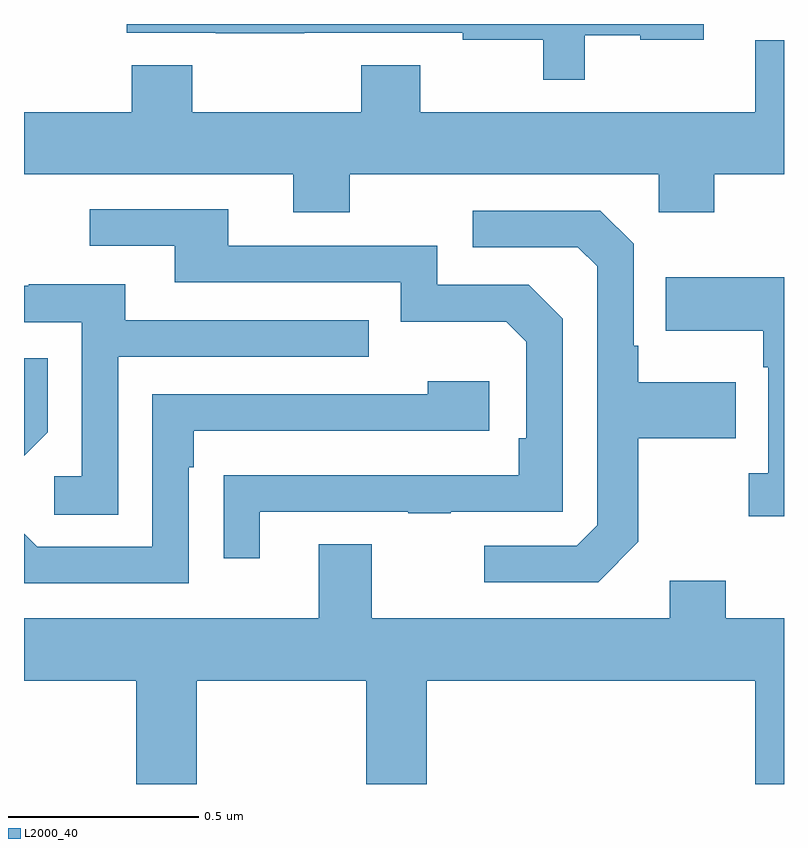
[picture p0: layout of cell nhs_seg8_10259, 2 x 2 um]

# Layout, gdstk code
import gdstk
lib = gdstk.Library(unit=1e-6, precision=1e-09)
def P(c, l, *ps):  # polygons
    for p in ps: c.add(gdstk.Polygon(p, *l))
L2000_40 = (2000, 40)

nhs_seg8_10259 = lib.new_cell('nhs_seg8_10259')
P(nhs_seg8_10259, L2000_40, [(248.476,1112.87),(248.622,1112.87),(248.622,1112.858),(248.789,1112.858),(248.789,1112.9),(247.27,1112.9),(247.27,1112.877),(247.505,1112.877),(247.505,1112.876),(247.737,1112.876),(247.737,1112.877),(248.154,1112.877),(248.154,1112.858),(248.367,1112.858),(248.367,1112.753),(248.476,1112.753)],
  [(247.857,1112.504),(248.67,1112.504),(248.67,1112.405),(248.817,1112.405),(248.817,1112.504),(249,1112.504),(249,1112.857),(248.924,1112.857),(248.924,1112.668),(248.043,1112.668),(248.043,1112.792),(247.888,1112.792),(247.888,1112.668),(247.443,1112.668),(247.443,1112.792),(247.283,1112.792),(247.283,1112.668),(247,1112.668),(247,1112.504),(247.709,1112.504),(247.709,1112.405),(247.857,1112.405)],
  [(247.621,1111.617),(248.011,1111.617),(248.011,1111.612),(248.123,1111.612),(248.123,1111.617),(248.418,1111.617),(248.418,1112.124),(248.328,1112.214),(248.088,1112.214),(248.088,1112.316),(247.537,1112.316),(247.537,1112.412),(247.173,1112.412),(247.173,1112.316),(247.397,1112.316),(247.397,1112.22),(247.992,1112.22),(247.992,1112.117),(248.269,1112.117),(248.322,1112.064),(248.322,1111.81),(248.302,1111.81),(248.302,1111.713),(247.627,1111.713),(247.627,1111.712),(247.525,1111.712),(247.525,1111.494),(247.621,1111.494)],
  [(248.617,1111.537),(248.617,1111.81),(248.873,1111.81),(248.873,1111.957),(248.617,1111.957),(248.617,1112.053),(248.604,1112.053),(248.604,1112.322),(248.517,1112.409),(248.181,1112.409),(248.181,1112.313),(248.457,1112.313),(248.508,1112.262),(248.508,1111.581),(248.454,1111.527),(248.211,1111.527),(248.211,1111.431),(248.511,1111.431)],
  [(249,1112.233),(248.689,1112.233),(248.689,1112.093),(248.946,1112.093),(248.946,1111.997),(248.958,1111.997),(248.958,1111.718),(248.907,1111.718),(248.907,1111.605),(249,1111.605)],
  [(247.248,1112.025),(247.907,1112.025),(247.907,1112.121),(247.267,1112.121),(247.267,1112.215),(247.013,1112.215),(247.013,1112.211),(247,1112.211),(247,1112.115),(247.152,1112.115),(247.152,1111.71),(247.08,1111.71),(247.08,1111.609),(247.248,1111.609)],
  [(247.062,1111.826),(247.062,1112.02),(247,1112.02),(247,1111.764)],
  [(247.434,1111.733),(247.447,1111.733),(247.447,1111.83),(248.224,1111.83),(248.224,1111.96),(248.063,1111.96),(248.063,1111.926),(247.338,1111.926),(247.338,1111.524),(247.035,1111.524),(247,1111.559),(247,1111.428),(247.434,1111.428)],
  [(248.847,1111.435),(248.699,1111.435),(248.699,1111.336),(247.915,1111.336),(247.915,1111.531),(247.775,1111.531),(247.775,1111.336),(247,1111.336),(247,1111.172),(247.295,1111.172),(247.295,1110.9),(247.455,1110.9),(247.455,1111.172),(247.9,1111.172),(247.9,1110.9),(248.06,1110.9),(248.06,1111.172),(248.924,1111.172),(248.924,1110.9),(249,1110.9),(249,1111.336),(248.847,1111.336)])

lib.write_gds('nhs_seg8_10259.gds')
